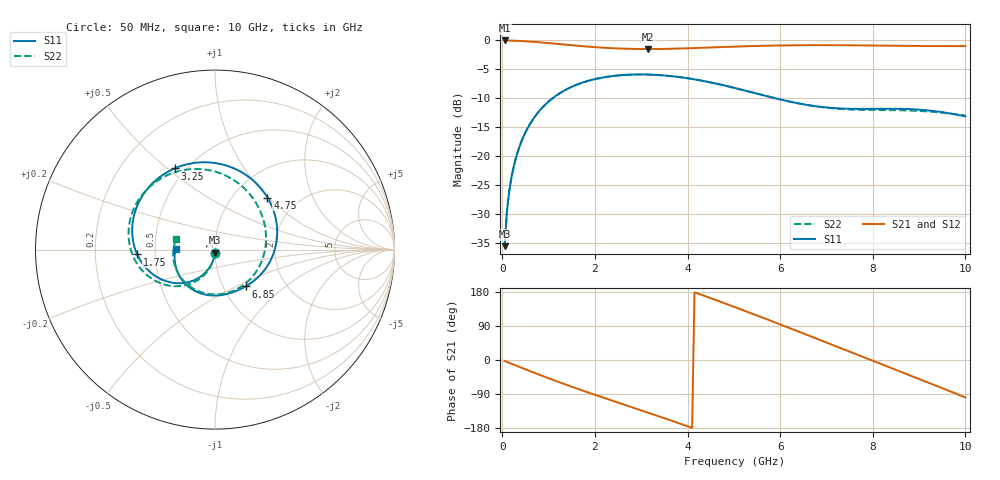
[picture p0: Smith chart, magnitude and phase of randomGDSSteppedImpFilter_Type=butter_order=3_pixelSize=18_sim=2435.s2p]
! freq	dB(S11)	phase(S11)	dB(S12)	phase(S12)
!  dB(S21)	phase(S21)	dB(S22)	phase(S22)
!S-par simulation data
#  GHz  S  DB  R 50
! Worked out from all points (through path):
!   200 points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, 50 MHz to 10 GHz, reference 50 ohm
!   highest |S21| = 0.00 dB at 50 MHz (marker M1); lowest = -1.5 dB at 3.15 GHz (marker M2)
!   group delay of S21, straight-line fit = 126 ps
!   lowest |S11| = -35.6 dB at 50 MHz (marker M3), VSWR 1.03, Z = 49.9 - j1.65 ohm
!   |S11| at or under -10 dB: start of sweep to 1.087 GHz; 5.89 GHz to end of sweep
!   |S22| runs from -35.6 to -5.9 dB; largest |S21 - S12| = 0
!   S11 on the Smith chart (normalised r, x): 50 MHz: 1.00, -0.03; 1.75 GHz: 0.39, -0.03; 3.25 GHz: 0.44, +0.53; 4.75 GHz: 1.42, +0.99; 6.85 GHz: 1.27, -0.56; 10 GHz: 0.64, +0.01
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0.05  -35.60 -92.6  -0.00 -2.5  -0.00 -2.5  -35.58 -92.4
0.1  -29.59 -95.4  -0.01 -5.0  -0.01 -5.0  -29.58 -94.9
0.2  -23.62 -100.8  -0.03 -9.9  -0.03 -9.9  -23.62 -99.8
0.5  -15.91 -116.3  -0.15 -24.6  -0.15 -24.6  -15.91 -113.9
1.1  -9.92 -146.0  -0.53 -52.7  -0.53 -52.7  -9.92 -140.7
1.75  -7.25 -176.4  -1.01 -81.3  -1.01 -81.3  -7.25 -167.5
2.4  -6.14 154.5  -1.35 -108.4  -1.35 -108.4  -6.14 167.5
3.15  -5.90 121.0  -1.49 -139.1  -1.49 -139.1  -5.91 139.7
3.25  -5.93 116.5  -1.49 -143.2  -1.49 -143.2  -5.94 136.1
3.4  -6.00 109.6  -1.48 -149.4  -1.48 -149.4  -6.01 130.5
4.1  -6.66 76.6  -1.33 -179.2  -1.33 -179.2  -6.67 104.5
4.75  -7.70 44.8  -1.14 152.0  -1.14 152.0  -7.71 79.4
5.05  -8.28 30.0  -1.06 138.3  -1.06 138.3  -8.29 67.5
5.9  -10.02 -10.8  -0.88 98.7  -0.88 98.7  -10.01 31.0
6.3  -10.74 -28.4  -0.84 79.7  -0.84 79.7  -10.73 11.9
6.7  -11.31 -44.5  -0.82 60.6  -0.82 60.6  -11.32 -8.8
6.85  -11.47 -50.3  -0.82 53.4  -0.82 53.4  -11.49 -17.0
7.6  -11.84 -77.3  -0.84 17.3  -0.84 17.3  -11.98 -60.1
8.35  -11.81 -104.9  -0.91 -18.7  -0.91 -18.7  -12.06 -104.3
8.8  -11.88 -122.9  -0.95 -40.4  -0.95 -40.4  -12.12 -130.2
9.25  -12.15 -142.7  -0.98 -62.1  -0.98 -62.1  -12.32 -155.2
10  -13.15 178.9  -0.98 -98.8  -0.98 -98.8  -13.00 165.1
